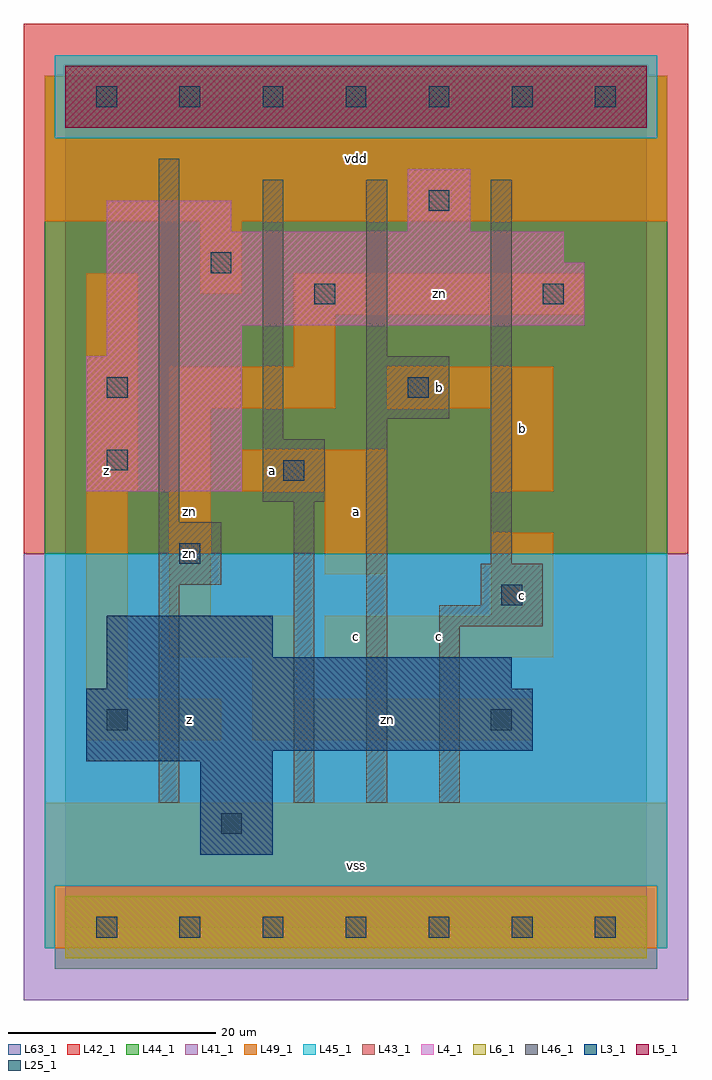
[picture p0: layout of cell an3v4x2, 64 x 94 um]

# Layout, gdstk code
import gdstk
lib = gdstk.Library(unit=1e-6, precision=1e-09)
def R(c, l, rs):  # rectangles x0, y0, x1, y1
    for r in rs: c.add(gdstk.rectangle(r[:2], r[2:], *l))
def A(c, l, x, y, w, h, nx, ny, dx, dy):  # array of equal rectangles
    R(c, l, [(x+i*dx, y+j*dy, x+i*dx+w, y+j*dy+h) for i in range(nx) for j in range(ny)])
L3_1 = (3, 1)
L4_1 = (4, 1)
L5_1 = (5, 1)
L6_1 = (6, 1)
L25_1 = (25, 1)
L41_1 = (41, 1)
L42_1 = (42, 1)
L43_1 = (43, 1)
L44_1 = (44, 1)
L45_1 = (45, 1)
L46_1 = (46, 1)
L49_1 = (49, 1)
L63_1 = (63, 1)

an3v4x2 = lib.new_cell('an3v4x2')
R(an3v4x2, L3_1, [(13,7,20,16), (2,16,20,17), (2,17,45,23), (4,23,43,26), (4,26,20,30)])
R(an3v4x2, L4_1, [(2,42,17,55), (4,55,17,58), (4,58,50,64), (4,64,48,67), (4,67,16,70), (33,67,39,73)])
R(an3v4x2, L5_1, [(0,77,56,83)])
R(an3v4x2, L6_1, [(0,-3,56,3), (0,-3,56,3)])
A(an3v4x2, L25_1, 3, -1, 2, 2, 7, 2, 8, 80)
R(an3v4x2, L25_1, [(15,9,17,11), (4,19,6,21), (41,19,43,21), (42,31,44,33), (11,35,13,37), (21,43,23,45), (4,44,6,46), (4,51,6,53), (33,51,35,53), (24,60,26,62), (46,60,48,62), (14,63,16,65), (35,69,37,71)])
R(an3v4x2, L41_1, [(-4,-7,60,36)])
R(an3v4x2, L42_1, [(-4,36,60,87)])
R(an3v4x2, L43_1, [(0,-3,56,3), (13,7,20,16), (2,16,20,17), (2,17,45,23), (4,23,43,26), (4,26,20,30), (2,42,17,55), (4,55,17,58), (4,58,50,64), (4,64,48,67), (4,67,16,70), (33,67,39,73), (0,77,56,83)])
R(an3v4x2, L44_1, [(-1,-4,57,4), (-2,36,58,76), (-2,76,-1,82), (57,76,58,82)])
R(an3v4x2, L45_1, [(-2,-2,-1,4), (57,-2,58,4), (-2,4,58,36), (-1,76,57,84)])
R(an3v4x2, L46_1, [(9,12,11,33), (22,12,24,41), (29,12,31,49), (36,12,38,29), (36,29,46,31), (40,31,46,35), (9,33,15,39), (41,35,43,72), (9,39,11,74), (19,41,25,47), (19,47,21,72), (29,49,37,55), (29,55,31,72)])
R(an3v4x2, L49_1, [(-2,-2,58,12), (2,18,15,22), (18,18,45,22), (2,22,6,42), (18,22,22,26), (10,26,22,30), (25,26,47,30), (10,30,14,50), (41,30,47,38), (25,34,31,42), (2,42,7,63), (17,42,31,46), (41,42,47,50), (10,50,26,54), (31,50,47,54), (22,54,26,59), (22,59,50,63), (13,61,17,68), (-2,68,58,82)])
R(an3v4x2, L63_1, [(0,0,56,80)])
an3v4x2.add(gdstk.Label('zn', (12,36), layer=49, texttype=1))
an3v4x2.add(gdstk.Label('z', (4,44), layer=49, texttype=1))
an3v4x2.add(gdstk.Label('z', (12,20), layer=49, texttype=1))
an3v4x2.add(gdstk.Label('a', (20,44), layer=49, texttype=1))
an3v4x2.add(gdstk.Label('zn', (12,40), layer=49, texttype=1))
an3v4x2.add(gdstk.Label('vss', (28,6), layer=49, texttype=1))
an3v4x2.add(gdstk.Label('c', (28,28), layer=49, texttype=1))
an3v4x2.add(gdstk.Label('c', (36,28), layer=49, texttype=1))
an3v4x2.add(gdstk.Label('a', (28,40), layer=49, texttype=1))
an3v4x2.add(gdstk.Label('b', (36,52), layer=49, texttype=1))
an3v4x2.add(gdstk.Label('vdd', (28,74), layer=49, texttype=1))
an3v4x2.add(gdstk.Label('zn', (31,20), layer=49, texttype=1))
an3v4x2.add(gdstk.Label('c', (44,32), layer=49, texttype=1))
an3v4x2.add(gdstk.Label('b', (44,48), layer=49, texttype=1))
an3v4x2.add(gdstk.Label('zn', (36,61), layer=49, texttype=1))

lib.write_gds('an3v4x2.gds')
